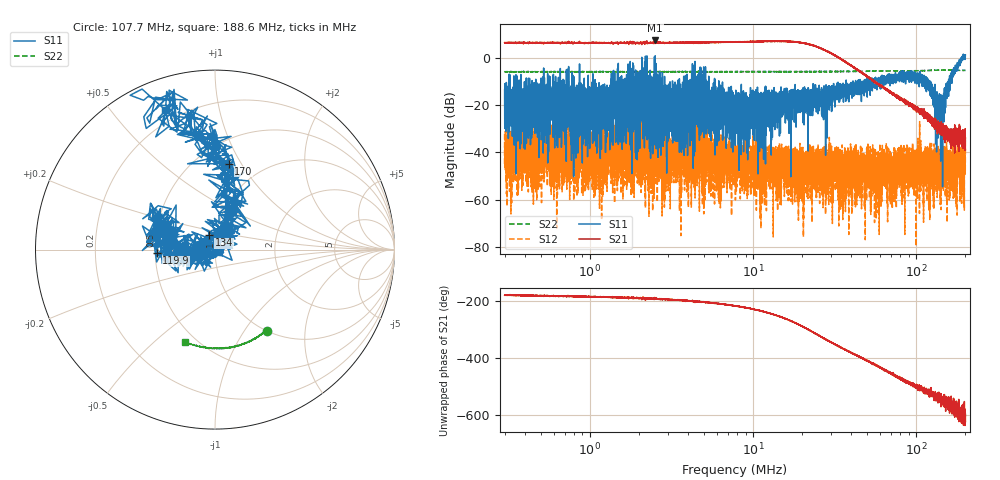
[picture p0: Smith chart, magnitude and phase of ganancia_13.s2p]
# Hz S DB R 50
! CMT, M5065, 19127446, 24.2.4/2
! Date: 11/1/2024 4:22:24 PM
! Data: Format (Calibration Info)
! Freq	S11:dB/Ang(F2)	S21:dB/Ang(F2)	S12:dB/Ang(F2)	S22:dB/Ang(F2)
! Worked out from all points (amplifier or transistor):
!   9000 points, 300 kHz to 200 MHz, reference 50 ohm
!   highest |S21| = 7.3 dB at 2.512 MHz (marker M1)
!   |S21| within 3 dB of that: start of sweep to 25.21 MHz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
!   unconditionally stable (mu >= 1): start of sweep to 2.078 MHz; 2.513 MHz to 188.9 MHz; 189.1451 MHz to 189.7554 MHz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
!   at 886.8 kHz: K = 17.51, MAG = 7.7 dB, |S12| = -40.0 dB
!   at 7.749 MHz: K = 15.63, MAG = 8.2 dB, |S12| = -39.5 dB
!   at 200 MHz: K = -476.73, MSG = 2.1 dB, |S12| = -38.0 dB
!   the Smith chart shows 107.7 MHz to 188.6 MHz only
!   S11 on the Smith chart (normalised r, x): 107.7 MHz: 0.49, +0.12; 119.9 MHz: 0.51, -0.02; 134 MHz: 0.93, +0.15; 170 MHz: 0.71, +0.89; 188.6 MHz: 0.14, +0.69
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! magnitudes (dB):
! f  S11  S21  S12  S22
! 300 kHz  -13.4  6.4  -32.1  -5.9
! 310.6 kHz  -13.7  6.2  -35.0  -5.9
! 326.7 kHz  -23.1  6.4  -31.2  -5.8
! 886.8 kHz  -21.4  6.4  -40.0  -5.8
! 1.73 MHz  -2.8  5.7  -43.6  -5.9
! 1.941 MHz  -16.5  6.4  -25.0  -5.9
! 2.088 MHz  -24.7  6.3  -47.7  -5.9
! 2.308 MHz  -31.7  6.3  -33.6  -5.9
! 2.512 MHz  0.9  7.3  -40.4  -5.9
! 2.621 MHz  -19.8  6.4  -40.8  -6.0
! 4.737 MHz  -26.7  6.4  -37.7  -5.8
! 7.749 MHz  -17.4  6.8  -39.5  -5.9
! 22.91 MHz  -18.5  5.4  -41.4  -5.9
! 67.71 MHz  -8.0  -13.8  -51.6  -5.6
! 107.7 MHz  -9.1  -22.9  -51.4  -5.4
! 119.9 MHz  -9.8  -25.6  -45.2  -5.4
! 134 MHz  -21.3  -28.6  -47.0  -5.2
! 142 MHz  -23.9  -30.5  -64.2  -5.2
! 154.1 MHz  -11.8  -34.2  -47.1  -5.2
! 170 MHz  -6.3  -33.8  -43.4  -5.2
! 188.6 MHz  -1.6  -31.6  -45.2  -5.3
! 200 MHz  1.3  -33.8  -38.0  -5.3
